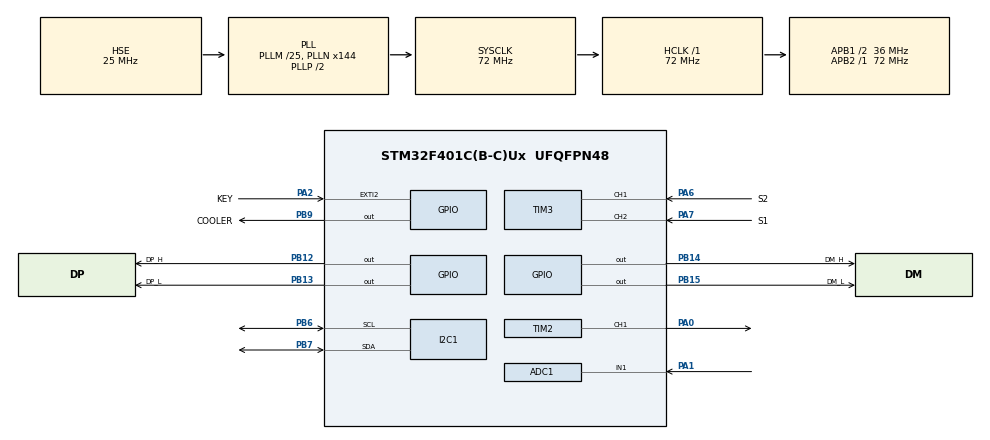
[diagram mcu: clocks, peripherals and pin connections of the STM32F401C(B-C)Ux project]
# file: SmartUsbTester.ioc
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ADC1.Channel-0\#ChannelRegularConversion=ADC_CHANNEL_1
ADC1.ContinuousConvMode=ENABLE
ADC1.NbrOfConversionFlag=1
ADC1.Rank-0\#ChannelRegularConversion=1
ADC1.SamplingTime-0\#ChannelRegularConversion=ADC_SAMPLETIME_480CYCLES
ADC1.master=1
I2C1.I2C_Mode=I2C_Fast
Mcu.Family=STM32F4
Mcu.Name=STM32F401C(B-C)Ux
Mcu.Package=UFQFPN48
NVIC.ADC_IRQn=true\:0\:0\:false\:false\:true\:true\:true\:true
NVIC.EXTI2_IRQn=true\:0\:0\:false\:false\:true\:true\:true\:true
NVIC.PriorityGroup=NVIC_PRIORITYGROUP_4
NVIC.TIM1_UP_TIM10_IRQn=true\:0\:0\:false\:false\:true\:true\:true\:true
PA0-WKUP.Signal=S_TIM2_CH1_ETR
PA1.Signal=ADCx_IN1
PA13.Mode=Serial_Wire
PA13.Signal=SYS_JTMS-SWDIO
PA14.Mode=Serial_Wire
PA14.Signal=SYS_JTCK-SWCLK
PA2.GPIO_Label=KEY
PA2.Signal=GPXTI2
PA6.GPIO_Label=S2
PA6.Signal=S_TIM3_CH1
PA7.GPIO_Label=S1
PA7.Signal=S_TIM3_CH2
PB12.GPIO_Label=DP_H
PB12.Signal=GPIO_Output
PB13.GPIO_Label=DP_L
PB13.Signal=GPIO_Output
PB14.GPIO_Label=DM_H
PB14.Signal=GPIO_Output
PB15.GPIO_Label=DM_L
PB15.Signal=GPIO_Output
PB6.Mode=I2C
PB6.Signal=I2C1_SCL
PB7.Mode=I2C
PB7.Signal=I2C1_SDA
PB9.GPIO_Label=COOLER
PB9.Signal=GPIO_Output
PC14-OSC32_IN.Mode=LSE-External-Oscillator
PC14-OSC32_IN.Signal=RCC_OSC32_IN
PC15-OSC32_OUT.Mode=LSE-External-Oscillator
PC15-OSC32_OUT.Signal=RCC_OSC32_OUT
PH0\ -\ OSC_IN.Mode=HSE-External-Oscillator
PH0\ -\ OSC_IN.Signal=RCC_OSC_IN
PH1\ -\ OSC_OUT.Mode=HSE-External-Oscillator
PH1\ -\ OSC_OUT.Signal=RCC_OSC_OUT
ProjectManager.HeapSize=0x200
ProjectManager.StackSize=0x400
ProjectManager.TargetToolchain=STM32CubeIDE
RCC.48MHZClocksFreq_Value=36000000
RCC.AHBFreq_Value=72000000
RCC.APB1CLKDivider=RCC_HCLK_DIV2
RCC.APB1Freq_Value=36000000
RCC.APB1TimFreq_Value=72000000
RCC.APB2Freq_Value=72000000
RCC.APB2TimFreq_Value=72000000
RCC.CortexFreq_Value=72000000
RCC.HCLKFreq_Value=72000000
RCC.HSE_VALUE=25000000
RCC.HSI_VALUE=16000000
RCC.PLLM=25
RCC.PLLN=144
RCC.PLLSourceVirtual=RCC_PLLSOURCE_HSE
RCC.SYSCLKFreq_VALUE=72000000
RCC.SYSCLKSource=RCC_SYSCLKSOURCE_PLLCLK
RCC.VCOOutputFreq_Value=144000000
SH.ADCx_IN1.0=ADC1_IN1,IN1
SH.S_TIM2_CH1_ETR.0=TIM2_CH1,PWM Generation1 CH1
SH.S_TIM3_CH1.0=TIM3_CH1,Encoder_Interface
SH.S_TIM3_CH2.0=TIM3_CH2,Encoder_Interface
TIM1.Period=200
TIM1.Prescaler=35999
TIM1.RepetitionCounter=0
TIM2.Channel-PWM\ Generation1\ CH1=TIM_CHANNEL_1
TIM2.Period=65535
TIM3.EncoderMode=TIM_ENCODERMODE_TI12
TIM3.IC2Filter=10
VP_TIM1_VS_ClockSourceINT.Mode=Internal
VP_TIM2_VS_ClockSourceINT.Mode=Internal
board=custom

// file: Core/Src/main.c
/* USER CODE BEGIN Header */
/**
  ******************************************************************************
  * @file           : main.c
  * @brief          : Main program body
  ******************************************************************************
  * @attention
  *
  * Copyright (c) 2022 STMicroelectronics.
  * All rights reserved.
  *
  * This software is licensed under terms that can be found in the LICENSE file
  * in the root directory of this software component.
  * If no LICENSE file comes with this software, it is provided AS-IS.
  *
  ******************************************************************************
  */
/* USER CODE END Header */
#include "main.h"

/* USER CODE BEGIN Includes */
#include <limits.h>
#include <stdint.h>
#include <stdlib.h>
#include "ina219.h"
#include "draw.h"
#include "fonts.h"
#include "qc.h"
#include "math.h"
/* USER CODE END Includes */

ADC_HandleTypeDef hadc1;

I2C_HandleTypeDef hi2c1;

TIM_HandleTypeDef htim1;
TIM_HandleTypeDef htim2;
TIM_HandleTypeDef htim3;

/* USER CODE BEGIN PV */
extern int adrs_219;
/* ntc vars */
uint32_t Ntc_Tmp = 0;
uint16_t Ntc_R;
/* R1 resistance */
#define NTC_UP_R 46600.0f
/* constants of Steinhart-Hart equation */
#define A 0.0007537836786f
#define B 0.0002356034273f
#define C 0.00000005496876007f

#define MAX_ALLOWED_TEMPERATURE 60
#define LOW_VOLTAGE 3200

/* USER CODE END PV */

void SystemClock_Config(void);
static void MX_GPIO_Init(void);
static void MX_I2C1_Init(void);
static void MX_TIM3_Init(void);
static void MX_TIM1_Init(void);
static void MX_TIM2_Init(void);
static void MX_ADC1_Init(void);

/* USER CODE BEGIN 0 */
#define MAX_ALLOWED_LOAD 3200
#define GRAPHS_N 4
#define MILLIVOLTAGE_LOWEST_BOUND 2000
#define MILLIVOLTAGE_HIGHEST_BOUND 15000
#define MILLIVOLTAGE_MINIMUM_ALLOWED 3900
#define COOLING_ENABLE_MILLIWATT 10000
#define COOLING_DISABLE_MILLIWATT 5000
#define COOLING_ENABLE_TEMPERATURE 30
#define COOLING_DISABLE_TEMPERATURE 24
#define MAX_UINT32 65532
#define REFERENCE_CABLE_RESISTANCE 228//81

typedef enum state_t {
    MAIN_MENU,
    QC,
    POWER,
    CURRENT_CONTROL,
    GRAPHS,
	TEST_MAX_PARAMS,
	TEST_RESISTANCE,
	TEST_CAPACITY

} state_t;

typedef enum qc_menu_t{
    EXIT_TO_MAIN_MENU_FROM_QC,
    SET_5V,
    SET_9V,
    SET_12V,
    CONTINUOUS_MODE_UP,
    CONTINUOUS_MODE_DOWN
} qc_menu_t;
typedef enum graph_toggle_t{
	EXIT_TO_MAIN_MENU_FROM_GRAPH,
    GRAPH_TOGGLE_UPPER_BOUND,
    GRAPH_TOGGLE_LOWER_BOUND,
    GRAPH_TOGGLE_RESET,
    GRAPH_TOGGLE_DATA
} graph_toggle_t;
typedef enum power_t{
	EXIT_TO_MAIN_MENU_FROM_POWER
} power_t;
typedef enum current_control_t{
	EXIT_TO_MAIN_MENU_FROM_CURRENT_CONTROL
} current_control_t;
typedef enum max_params_t{
	EXIT_TO_MAIN_MENU_FROM_MAX_PARAMS,
    START_MAX_PARAMS_TEST
} max_params_t;
typedef enum resistance_control_t{
	EXIT_TO_MAIN_MENU_FROM_RESISTANCE,
    SAVE_REFERENCE_RESISTANCE,
    GET_CABLE_RESISTANCE
} resistance_control_t;
typedef enum capacity_control_t{
	EXIT_TO_MAIN_MENU_FROM_CAPACITY
} capacity_control_t;

typedef struct OverFlow {
	int overflow_size;
} OverFlow;

volatile int btn_state = 1;
volatile int can_be_pressed = 1;
volatile uint32_t move = 0;
volatile uint32_t move_prev = 0;
volatile state_t state = MAIN_MENU;
volatile graph_toggle_t graph_toggle_state = EXIT_TO_MAIN_MENU_FROM_GRAPH;
volatile int is_drawn = 0;
volatile int device_available = 0;

uint32_t ina_curr = 0;
uint32_t ina_vol = 0;
float ina_vol_float = 0;
uint32_t ina_pwr = 0;
uint8_t ina_cnt = 0;
uint8_t channel = 0;
float mAh = 0;
float mWh = 0;
uint8_t start_measuring_capacity = 0;

uint8_t _cooling = 0;

uint32_t tim3_prev_cnt=0;
int amperage_load=0;
int active_load=0;
int start_load=0;

int graph_upper_bound=3200;
int graph_lower_bound=0;
page_t page = PAGE_1;

uint32_t board_temperature = 0;

qc_support_t has_qc_support = QC_UNKNOWN;
uint8_t qc_execure_check = 0;
int continuous_mode = 0;

int start_max_params_test = 0;

static const graph_t milliVoltage={
        &ina_vol,
        "mV",
        0,
        7500
};
static const graph_t milliAmperage={
        &ina_curr,
        "mA",
        0,
        5000
};
static const graph_t milliWattage= {
        &ina_pwr,
        "mW",
        0,
        36000
};
static const graph_t temperature={
        &board_temperature,
        "TC",
        20,
        75
};

const graph_t graphs[GRAPHS_N] = {milliVoltage, milliAmperage, milliWattage, temperature};

int curr_graph = 0;

void reset_graph_bounds(){
    graph_upper_bound = graphs[curr_graph].upper_bound;
    graph_lower_bound = graphs[curr_graph].lower_bound;
}

int get_encoder_rotation(){
    unsigned int tim3_cnt = (TIM3->CNT)>>2;
    int diff;
    if (tim3_cnt > tim3_prev_cnt)
        diff = 1;
    else if (tim3_cnt == tim3_prev_cnt)
        diff = 0;
    else
        diff = -1;
    tim3_prev_cnt = tim3_cnt;
    return diff;
}
// Overflow methods
//move = (TIM3->CNT>>2)%1;
uint32_t getMove(uint32_t scale) {
	uint32_t count = ((TIM3->CNT));
	uint32_t move;
	if (count == MAX_UINT32) {
		(TIM3->CNT) = scale<<8;
		move = scale-1;
	}
	else {

		move = (count>>2)%scale;
	}
	return move;

}
// PID controller parameters
double kp = 0.05; // 0.05
double ki = 0.5; // 0.5
double kd = 0.1; // 0.1

// PID controller state
double integral = 0;
double previous_error = 0;

int pid_controller(uint32_t actual_voltage, uint32_t desired_voltage) {
    // Calculate error
    double error = desired_voltage + 0.0 - actual_voltage;
    // Update integral
    integral += error;
    // Calculate derivative
    double derivative = error - previous_error;
    // Save error for next iteration
    previous_error = error;
    // Calculate output
    double output = kp*error + ki*integral + kd*derivative;
    // Saturate output
    if (output < 0) {
        output = 0;
    } else if (output >= MAX_ALLOWED_LOAD) {
        output = MAX_ALLOWED_LOAD - 1;
    }
    // Convert output to uint32_t and return
    return output;
}

void measure_capacity(){
    mAh += ina_curr/3600.0;
	mWh += ina_vol*ina_curr/3600000.0;
}

void electrical_load(int diff){

    if (!active_load){
        amperage_load = 0;
        active_load = 1;
    }

    if(amperage_load + diff < 0){
        amperage_load = 0;
        diff = 0;
    }

    if(amperage_load + diff >= MAX_ALLOWED_LOAD){
        amperage_load = MAX_ALLOWED_LOAD;
        diff = 0;
    }

    amperage_load += diff;

    // 5v
    // 500 - 113 mA
    // 1000 - 220 mA
    // 2000 - 440 mA
    // 5000 - 1030 mA
    // 6000 - 1170 mA
    // 10000 - 1470 mA

    // !!!!!!! ATTENTION !!!!!!!!
    // find values for QC, using these values will cause damage to the device
    // !!!!!!! ATTENTION !!!!!!!!
    int adjustment = pid_controller(ina_curr, amperage_load);
    TIM2->CCR1 = adjustment;
    HAL_Delay(3);
}

void read_circut_parameters(){
    adrs_219 = 0x40;
    ina_curr = getCurrent_mA();
    ina_vol = getBusVoltage_V() * 1000;
    ina_vol_float = getBusVoltage_V();
    ina_pwr = getPower_mW();
}

void emergency_shutdown(){
    TIM2->CCR1 = 0;
    amperage_load = 0;
    active_load = 0;
    HAL_GPIO_WritePin(GPIOB, COOLER_Pin, GPIO_PIN_SET);
    Set_5V();
}

void start_cooling(){
    if (!_cooling){
        HAL_GPIO_WritePin(GPIOB, COOLER_Pin, GPIO_PIN_SET);
        _cooling = 1;
    }
}

void stop_cooling(){
    if(_cooling){
        HAL_GPIO_WritePin(GPIOB, COOLER_Pin, GPIO_PIN_RESET);
        _cooling = 0;
    }
}

volatile int last = -150;
void check_temperature(){
	const int curr = HAL_GetTick();
	if (curr-last<300){return;}
	last = curr;

	/* get adc value */
	HAL_ADC_Start(&hadc1);
	HAL_ADC_PollForConversion(&hadc1, 100);
	uint16_t Ntc_Temp_ADC = 4095.0-HAL_ADC_GetValue(&hadc1);
	HAL_ADC_Stop(&hadc1);

	/* calculate ntc resistance */
	Ntc_R = ((NTC_UP_R)/((4095.0/Ntc_Temp_ADC) - 1));
	/* calculate temperature */
	float Ntc_Ln = log(Ntc_R);
	Ntc_Tmp = (1.0/(A + B*Ntc_Ln + C*Ntc_Ln*Ntc_Ln*Ntc_Ln)) - 273.15;

    // draw_temperature(Ntc_Tmp);
    board_temperature = Ntc_Tmp;
}

int board_protection(){
    read_circut_parameters();
    check_temperature();
    int protection = 0;
    if(ina_vol < MILLIVOLTAGE_LOWEST_BOUND){
        device_available = 0;
        qc_execure_check = 0;
        has_qc_support = QC_UNKNOWN;
    }
    else if(!device_available){
        device_available = 1;
        qc_execure_check = 1;
        amperage_load = 0;
	}

    if (board_temperature >= MAX_ALLOWED_TEMPERATURE
            || ina_vol > MILLIVOLTAGE_HIGHEST_BOUND) {
        emergency_shutdown();
        protection=1;
    }
    else if (board_temperature >= COOLING_ENABLE_TEMPERATURE
            || ina_pwr >= COOLING_ENABLE_MILLIWATT) {
        start_cooling();
	}
    else if (board_temperature < COOLING_DISABLE_TEMPERATURE
            && board_temperature < COOLING_DISABLE_MILLIWATT){
        stop_cooling();
    }
    return protection;
}

void HAL_TIM_PeriodElapsedCallback(TIM_HandleTypeDef *htim)
{
    /* Prevent unused argument(s) compilation warning */

    if(htim == &htim1){
        //HAL_GPIO_TogglePin(LD4_GPIO_Port, LD4_Pin);
        can_be_pressed = 1;
        HAL_TIM_Base_Stop_IT(&htim1);
    }
}

int resistance_reference = 9999;
int resistance_cable = 9999;

int get_resistance(){
    // set voltage to 5 volts
    Set_5V();

    // set current to about 1000 mA
    TIM2->CCR1 = 500;
    HAL_Delay(1000);

    // read current
    board_protection();

    int resistance = (ina_curr/ina_vol_float)*10; //(ina_vol_float / (ina_curr / 1000.0))*1000;

    amperage_load = 0;
    TIM2->CCR1 = 0;

    return resistance;
}

int click = 0;
void on_button_clicked(){
    switch (state){
        case MAIN_MENU:
            state=move+1;
            draw_fill(0);
            switch(move+1)
            {
                case QC:
                    TIM2->CCR1 = 0;
                    amperage_load = 0;
                    break;
                case GRAPHS:
                    reset_graph_bounds();
                    break;
                case CURRENT_CONTROL:
                    reset_graph_bounds();
                    start_load = 1;
                    break;
                case TEST_CAPACITY:
                    start_measuring_capacity = 1;
                    break;
            }
            move=0;
            break;

        case QC:

            switch (move){
                case EXIT_TO_MAIN_MENU_FROM_QC:
                    state=MAIN_MENU;
                    draw_clear();
                    move=QC-1;
                    break;

                case SET_5V:
                    Set_5V();
                    break;

                case SET_9V:
                    Set_9V();
                    break;

                case SET_12V:
                    Set_12V();
                    break;

                case CONTINUOUS_MODE_UP:
                    continuous_mode = 1;
                    break;

                case CONTINUOUS_MODE_DOWN:
                    continuous_mode = -1;
                    break;
            }
            break;

        case POWER:
            switch (move){
                case EXIT_TO_MAIN_MENU_FROM_POWER:
                    state=MAIN_MENU;
                    draw_fill (0);
                    move=0;
                    break;
            }
            break;

        case CURRENT_CONTROL:
            switch (move){
                case EXIT_TO_MAIN_MENU_FROM_CURRENT_CONTROL:
                    state=MAIN_MENU;
                    draw_fill (0);
                    move=0;
                    active_load=0;
                    break;
            }
            break;

        case GRAPHS:
            if(graph_toggle_state == EXIT_TO_MAIN_MENU_FROM_GRAPH){
                if (move == EXIT_TO_MAIN_MENU_FROM_GRAPH){
                    state=move;
                    draw_fill (0);
                    move=0;
                    break;
                }

                draw_graph_menu_clear_selection();

                switch(move){
                    case GRAPH_TOGGLE_UPPER_BOUND:
                        draw_graph_menu_upper_bound_selected();
                        break;
                    case GRAPH_TOGGLE_LOWER_BOUND:
                        draw_graph_menu_lower_bound_selected();
                        break;
                    case GRAPH_TOGGLE_RESET:
                        reset_graph_bounds();
                        move=0;
                        break;
                    case GRAPH_TOGGLE_DATA:
                        reset_graph_bounds();
                        break;
                }

                graph_toggle_state = move;
            }
            else{
                graph_toggle_state = EXIT_TO_MAIN_MENU_FROM_GRAPH;
                draw_graph_menu_upper_bound_deselect();
                draw_graph_menu_lower_bound_deselect();
                draw_graph_menu_upper_bound_button();
                draw_graph_menu_lower_bound_button();
            }
            break;
        	case TEST_MAX_PARAMS:
        		switch (move){
					case EXIT_TO_MAIN_MENU_FROM_MAX_PARAMS:
						state=MAIN_MENU;
						draw_fill (0);
						move=4;
						break;
                    case START_MAX_PARAMS_TEST:
                        start_max_params_test = 1;
                        break;
					default:
						break;
				}
        		break;
			case TEST_RESISTANCE:
				switch (move){
					case EXIT_TO_MAIN_MENU_FROM_RESISTANCE:
						state=MAIN_MENU;
						draw_fill (0);
						move=4;
						break;
                    case SAVE_REFERENCE_RESISTANCE:
                    click = 1;
                        break;
                    case GET_CABLE_RESISTANCE:
                        // resistance_cable = get_resistance() - resistance_reference;
                        click = 2;
                        break;
				}
				break;
			case TEST_CAPACITY:
				switch (move){
						case EXIT_TO_MAIN_MENU_FROM_CAPACITY:
							state=MAIN_MENU;
							draw_fill (0);
							move=4;
							break;
					}
				break;
		default:
			break;
    }
}

void HAL_GPIO_EXTI_Callback(uint16_t GPIO_Pin) {
    if (GPIO_Pin==KEY_Pin) {
        if (can_be_pressed) {
            can_be_pressed = 0;
            btn_state = !btn_state;
            is_drawn = 0;

            on_button_clicked();

            HAL_TIM_Base_Start_IT(&htim1);
        }
    }
}

void setup(){
    HAL_TIM_Encoder_Start(&htim3, TIM_CHANNEL_ALL);
    draw_init();
    draw_clear();
    adrs_219 = 0x40;
    setCalibration_32V_custom();
    HAL_TIM_PWM_Start(&htim2, TIM_CHANNEL_1);
	TIM2->CCR1 = 0;
}

void loop(){
    move_prev = move;
    board_protection();

    switch(state){

        case MAIN_MENU:
            move = getMove(7);
            if (4<=move&&move<7) {
				// draw page 2
            	if (move_prev < 4) {
                	page = PAGE_2;
                	is_drawn = 0;
            	}

			}
            else {
            	// draw page 1
            	if (4<=move_prev&&move_prev<7) {
                	page = PAGE_1;
                	is_drawn = 0;
            	}
            }
            if (!is_drawn) {
            	draw_main_menu(page);
            }
            draw_main_menu_selection(move, move_prev, page);
            break;

        case QC:
            move = getMove(6);
            if (continuous_mode != 0){
                ContinuousMode();

                for(int i = 0; i < 5; ++i){
                    if (continuous_mode == 1) IncVoltage();
                    else if (continuous_mode == -1) DecVoltage();
                    HAL_Delay(50);
                }
                continuous_mode = 0;
            }

            if (!is_drawn) {
                draw_qc_menu();
                is_drawn=1;
            }

		  	if(move_prev != EXIT_TO_MAIN_MENU_FROM_QC){
				draw_qc_menu_deselect(move_prev);
			}
			if (move == EXIT_TO_MAIN_MENU_FROM_QC){
				draw_exit_focus();
			}
            else{
				draw_qc_menu_focus(move);
				draw_exit_button();
			}

            draw_qc_voltage(ina_vol);
            draw_qc_support(has_qc_support);

            if (qc_execure_check){
                draw_show_check_qc();
                draw_update_screen();
                HAL_Delay(4000);
                has_qc_support = HasQCSupport();
                draw_hide_check_qc();
                qc_execure_check = 0;
            }

            break;

        case POWER:
            move = getMove(1);
            if (!is_drawn) {
                is_drawn=1;
            }else{
                HAL_Delay(500);
            }
            //read_circut_parameters();
            draw_power_menu(ina_vol, ina_curr, ina_pwr);
			if(move == EXIT_TO_MAIN_MENU_FROM_POWER){
				draw_exit_focus();
			}
            else{
				draw_exit_button();
			}
            break;

        case CURRENT_CONTROL:{
            int diff = 50 * get_encoder_rotation();
            if(!start_load){
                diff = 0;
                start_load = 1;
            }
            electrical_load(diff);
            curr_graph = 1;
            draw_current_control_menu(amperage_load, ina_curr);
            draw_graph_builder_menu(graph_lower_bound, graph_upper_bound, graphs, curr_graph);
            break;
        }
        case GRAPHS:
        	move = getMove(5);
            draw_graph_builder_menu(graph_lower_bound, graph_upper_bound, graphs, curr_graph);
            HAL_Delay(50);
            if(move_prev == GRAPH_TOGGLE_DATA && move != GRAPH_TOGGLE_DATA){
                draw_clear_actual_value();
            }
            int delta = 0;
            int multiplier = (graphs[curr_graph].upper_bound - graphs[curr_graph].lower_bound) / 50;
            switch (graph_toggle_state){
                case EXIT_TO_MAIN_MENU_FROM_GRAPH:

                    draw_graph_menu_clear_selection();

                    draw_graph_menu_exit_button();

                    switch(move){
                        case EXIT_TO_MAIN_MENU_FROM_GRAPH:
                            draw_graph_menu_exit_focus();
                            break;
                        case GRAPH_TOGGLE_UPPER_BOUND:
                            draw_graph_menu_upper_bound_focus();
                            break;
                        case GRAPH_TOGGLE_LOWER_BOUND:
                            draw_graph_menu_lower_bound_focus();
                            break;
                        case GRAPH_TOGGLE_RESET:
                            draw_graph_menu_reset_focus();
                            break;
                        case GRAPH_TOGGLE_DATA:
                            draw_actual_value(*graphs[curr_graph].value);
                            draw_graph_menu_data_focus();
                            break;
                    }
                    break;
                case GRAPH_TOGGLE_UPPER_BOUND:
                    delta = get_encoder_rotation() * multiplier;
                    graph_upper_bound += delta;
                    if (graph_upper_bound <= graph_lower_bound){
                        graph_upper_bound = graph_lower_bound + 1;
                    }
                    break;
                case GRAPH_TOGGLE_LOWER_BOUND:
                    delta = get_encoder_rotation() * multiplier;
                    graph_lower_bound += delta;
                    if (graph_upper_bound <= graph_lower_bound){
                        graph_lower_bound = graph_upper_bound - 1;
                    }
                    break;
                case GRAPH_TOGGLE_DATA:
                    delta = get_encoder_rotation();
                    int g = curr_graph + delta;
                    if (g < 0)
                        g = 0;
                    else if (g >= GRAPHS_N)
                        g = GRAPHS_N - 1;
                    curr_graph = g;
                    reset_graph_bounds();
                    break;
				case GRAPH_TOGGLE_RESET:
					break;
            }
            break;

        case TEST_MAX_PARAMS:
            move = getMove(2);
            if(!is_drawn){
                draw_max_params_menu();
                is_drawn=1;
            }
            draw_exit_button();
            draw_max_params_button();

            switch(move){
                case EXIT_TO_MAIN_MENU_FROM_MAX_PARAMS:
                    draw_exit_focus();
                    break;
                case START_MAX_PARAMS_TEST:{
                    draw_max_params_focus();
                    if(!start_max_params_test) break;

                    draw_max_params_protection_hide();
                    start_max_params_test = 0;
                    uint32_t max_params_voltage = 0;
                    uint32_t max_params_amperage = 0;
                    int protection = 0;
                    for(int i = 0; i < MAX_ALLOWED_LOAD/100+1; ++i){
                        // Increment load with 100 mA
                        electrical_load(100);
                        protection = board_protection();
                        if (protection){
                            break;
                        }
                        max_params_voltage = ina_vol;
                        max_params_amperage = ina_curr;
                        // Bound the decresing voltage
                        if(ina_vol < MILLIVOLTAGE_MINIMUM_ALLOWED){
                            break;
                        }

                        HAL_Delay(100);
                    }
                    if(protection) draw_max_params_protection();
                    draw_max_params_results(max_params_voltage, max_params_amperage, MAX_ALLOWED_LOAD);
                    // Return to 0 mA
                    amperage_load = 0;
                    // Repeat to stabilize
                    for(int j = 0; j < 10; ++j){
                        electrical_load(0);
                        HAL_Delay(100);
                    }
                }
                break;
            }
            break;
        case TEST_RESISTANCE:
            move = ((TIM3->CNT)>>2)%3;
            draw_exit_button();
            draw_graph_bounds_deselect();
            draw_graph_menu_upper_bound_button();
            draw_graph_menu_lower_bound_button();

            switch(click){
                case 0:
                    break;
                case 1:
                    resistance_reference = get_resistance() - REFERENCE_CABLE_RESISTANCE;
                    click = 0;
                    break;
                case 2:
                    resistance_cable = get_resistance() - resistance_reference;
                    click = 0;
                    break;
            }

            switch(move){
                case EXIT_TO_MAIN_MENU_FROM_RESISTANCE:
                    draw_exit_focus();
                    break;
                case SAVE_REFERENCE_RESISTANCE:
                    draw_graph_menu_upper_bound_focus();
                    break;
                case GET_CABLE_RESISTANCE:
                    draw_graph_menu_lower_bound_focus();
                    break;
            }

            draw_resistance_control_menu(resistance_reference, resistance_cable);

            break;
        case TEST_CAPACITY:
            move = getMove(1);
            if(move == EXIT_TO_MAIN_MENU_FROM_CAPACITY){
                draw_exit_focus();
            }
            else{
                draw_exit_button();
            }
            draw_capacity_header();
            if(start_measuring_capacity){
                start_measuring_capacity = 0;
                HAL_Delay(250);
            }
            if (ina_vol > LOW_VOLTAGE){
                measure_capacity();
                draw_capacity_menu(ina_vol, ina_curr, mAh, mWh);
                HAL_Delay(1000);
            }
            else{
                draw_done_capacity_measuring(mAh, mWh);
            }
            break;
        default:
            break;
    }

    draw_update_screen();
}
/* USER CODE END 0 */

int main(void)
{

  /* MCU Configuration--------------------------------------------------------*/

  /* Reset of all peripherals, Initializes the Flash interface and the Systick. */
  HAL_Init();

  /* Configure the system clock */
  SystemClock_Config();

  /* Initialize all configured peripherals */
  MX_GPIO_Init();
  MX_I2C1_Init();
  MX_TIM3_Init();
  MX_TIM1_Init();
  MX_TIM2_Init();
  MX_ADC1_Init();
  /* USER CODE BEGIN 2 */
  setup();
  HAL_GPIO_WritePin(GPIOC, GPIO_PIN_13, GPIO_PIN_SET);
  /* USER CODE END 2 */

  /* Infinite loop */
  /* USER CODE BEGIN WHILE */
  while (1)
  {
    HAL_NVIC_DisableIRQ(EXTI2_IRQn);
    loop();
    HAL_NVIC_EnableIRQ(EXTI2_IRQn);
    /* USER CODE END WHILE */

  }
}

void SystemClock_Config(void)
{
  RCC_OscInitTypeDef RCC_OscInitStruct = {0};
  RCC_ClkInitTypeDef RCC_ClkInitStruct = {0};

  /** Configure the main internal regulator output voltage
  */
  __HAL_RCC_PWR_CLK_ENABLE();
  __HAL_PWR_VOLTAGESCALING_CONFIG(PWR_REGULATOR_VOLTAGE_SCALE2);

  /** Initializes the RCC Oscillators according to the specified parameters
  * in the RCC_OscInitTypeDef structure.
  */
  RCC_OscInitStruct.OscillatorType = RCC_OSCILLATORTYPE_HSE;
  RCC_OscInitStruct.HSEState = RCC_HSE_ON;
  RCC_OscInitStruct.PLL.PLLState = RCC_PLL_ON;
  RCC_OscInitStruct.PLL.PLLSource = RCC_PLLSOURCE_HSE;
  RCC_OscInitStruct.PLL.PLLM = 25;
  RCC_OscInitStruct.PLL.PLLN = 144;
  RCC_OscInitStruct.PLL.PLLP = RCC_PLLP_DIV2;
  RCC_OscInitStruct.PLL.PLLQ = 4;
  if (HAL_RCC_OscConfig(&RCC_OscInitStruct) != HAL_OK)
  {
    Error_Handler();
  }

  /** Initializes the CPU, AHB and APB buses clocks
  */
  RCC_ClkInitStruct.ClockType = RCC_CLOCKTYPE_HCLK|RCC_CLOCKTYPE_SYSCLK
                              |RCC_CLOCKTYPE_PCLK1|RCC_CLOCKTYPE_PCLK2;
  RCC_ClkInitStruct.SYSCLKSource = RCC_SYSCLKSOURCE_PLLCLK;
  RCC_ClkInitStruct.AHBCLKDivider = RCC_SYSCLK_DIV1;
  RCC_ClkInitStruct.APB1CLKDivider = RCC_HCLK_DIV2;
  RCC_ClkInitStruct.APB2CLKDivider = RCC_HCLK_DIV1;

  if (HAL_RCC_ClockConfig(&RCC_ClkInitStruct, FLASH_LATENCY_2) != HAL_OK)
  {
    Error_Handler();
  }
}

static void MX_ADC1_Init(void)
{

  ADC_ChannelConfTypeDef sConfig = {0};

  /** Configure the global features of the ADC (Clock, Resolution, Data Alignment and number of conversion)
  */
  hadc1.Instance = ADC1;
  hadc1.Init.ClockPrescaler = ADC_CLOCK_SYNC_PCLK_DIV2;
  hadc1.Init.Resolution = ADC_RESOLUTION_12B;
  hadc1.Init.ScanConvMode = DISABLE;
  hadc1.Init.ContinuousConvMode = ENABLE;
  hadc1.Init.DiscontinuousConvMode = DISABLE;
  hadc1.Init.ExternalTrigConvEdge = ADC_EXTERNALTRIGCONVEDGE_NONE;
  hadc1.Init.ExternalTrigConv = ADC_SOFTWARE_START;
  hadc1.Init.DataAlign = ADC_DATAALIGN_RIGHT;
  hadc1.Init.NbrOfConversion = 1;
  hadc1.Init.DMAContinuousRequests = DISABLE;
  hadc1.Init.EOCSelection = ADC_EOC_SINGLE_CONV;
  if (HAL_ADC_Init(&hadc1) != HAL_OK)
  {
    Error_Handler();
  }

  /** Configure for the selected ADC regular channel its corresponding rank in the sequencer and its sample time.
  */
  sConfig.Channel = ADC_CHANNEL_1;
  sConfig.Rank = 1;
  sConfig.SamplingTime = ADC_SAMPLETIME_480CYCLES;
  if (HAL_ADC_ConfigChannel(&hadc1, &sConfig) != HAL_OK)
  {
    Error_Handler();
  }

}

static void MX_I2C1_Init(void)
{

  hi2c1.Instance = I2C1;
  hi2c1.Init.ClockSpeed = 400000;
  hi2c1.Init.DutyCycle = I2C_DUTYCYCLE_2;
  hi2c1.Init.OwnAddress1 = 0;
  hi2c1.Init.AddressingMode = I2C_ADDRESSINGMODE_7BIT;
  hi2c1.Init.DualAddressMode = I2C_DUALADDRESS_DISABLE;
  hi2c1.Init.OwnAddress2 = 0;
  hi2c1.Init.GeneralCallMode = I2C_GENERALCALL_DISABLE;
  hi2c1.Init.NoStretchMode = I2C_NOSTRETCH_DISABLE;
  if (HAL_I2C_Init(&hi2c1) != HAL_OK)
  {
    Error_Handler();
  }

}

static void MX_TIM1_Init(void)
{

  TIM_ClockConfigTypeDef sClockSourceConfig = {0};
  TIM_MasterConfigTypeDef sMasterConfig = {0};

  htim1.Instance = TIM1;
  htim1.Init.Prescaler = 35999;
  htim1.Init.CounterMode = TIM_COUNTERMODE_UP;
  htim1.Init.Period = 200;
  htim1.Init.ClockDivision = TIM_CLOCKDIVISION_DIV1;
  htim1.Init.RepetitionCounter = 0;
  htim1.Init.AutoReloadPreload = TIM_AUTORELOAD_PRELOAD_DISABLE;
  if (HAL_TIM_Base_Init(&htim1) != HAL_OK)
  {
    Error_Handler();
  }
  sClockSourceConfig.ClockSource = TIM_CLOCKSOURCE_INTERNAL;
  if (HAL_TIM_ConfigClockSource(&htim1, &sClockSourceConfig) != HAL_OK)
  {
    Error_Handler();
  }
  sMasterConfig.MasterOutputTrigger = TIM_TRGO_RESET;
  sMasterConfig.MasterSlaveMode = TIM_MASTERSLAVEMODE_DISABLE;
  if (HAL_TIMEx_MasterConfigSynchronization(&htim1, &sMasterConfig) != HAL_OK)
  {
    Error_Handler();
  }

}

static void MX_TIM2_Init(void)
{

  TIM_ClockConfigTypeDef sClockSourceConfig = {0};
  TIM_MasterConfigTypeDef sMasterConfig = {0};
  TIM_OC_InitTypeDef sConfigOC = {0};

  htim2.Instance = TIM2;
  htim2.Init.Prescaler = 0;
  htim2.Init.CounterMode = TIM_COUNTERMODE_UP;
  htim2.Init.Period = 65535;
  htim2.Init.ClockDivision = TIM_CLOCKDIVISION_DIV1;
  htim2.Init.AutoReloadPreload = TIM_AUTORELOAD_PRELOAD_DISABLE;
  if (HAL_TIM_Base_Init(&htim2) != HAL_OK)
  {
    Error_Handler();
  }
  sClockSourceConfig.ClockSource = TIM_CLOCKSOURCE_INTERNAL;
  if (HAL_TIM_ConfigClockSource(&htim2, &sClockSourceConfig) != HAL_OK)
  {
    Error_Handler();
  }
  if (HAL_TIM_PWM_Init(&htim2) != HAL_OK)
  {
    Error_Handler();
  }
  sMasterConfig.MasterOutputTrigger = TIM_TRGO_RESET;
  sMasterConfig.MasterSlaveMode = TIM_MASTERSLAVEMODE_DISABLE;
  if (HAL_TIMEx_MasterConfigSynchronization(&htim2, &sMasterConfig) != HAL_OK)
  {
    Error_Handler();
  }
  sConfigOC.OCMode = TIM_OCMODE_PWM1;
  sConfigOC.Pulse = 0;
  sConfigOC.OCPolarity = TIM_OCPOLARITY_HIGH;
  sConfigOC.OCFastMode = TIM_OCFAST_DISABLE;
  if (HAL_TIM_PWM_ConfigChannel(&htim2, &sConfigOC, TIM_CHANNEL_1) != HAL_OK)
  {
    Error_Handler();
  }
  HAL_TIM_MspPostInit(&htim2);

}

static void MX_TIM3_Init(void)
{

  TIM_Encoder_InitTypeDef sConfig = {0};
  TIM_MasterConfigTypeDef sMasterConfig = {0};

  htim3.Instance = TIM3;
  htim3.Init.Prescaler = 0;
  htim3.Init.CounterMode = TIM_COUNTERMODE_UP;
  htim3.Init.Period = 65535;
  htim3.Init.ClockDivision = TIM_CLOCKDIVISION_DIV1;
  htim3.Init.AutoReloadPreload = TIM_AUTORELOAD_PRELOAD_DISABLE;
  sConfig.EncoderMode = TIM_ENCODERMODE_TI12;
  sConfig.IC1Polarity = TIM_ICPOLARITY_RISING;
  sConfig.IC1Selection = TIM_ICSELECTION_DIRECTTI;
  sConfig.IC1Prescaler = TIM_ICPSC_DIV1;
  sConfig.IC1Filter = 0;
  sConfig.IC2Polarity = TIM_ICPOLARITY_RISING;
  sConfig.IC2Selection = TIM_ICSELECTION_DIRECTTI;
  sConfig.IC2Prescaler = TIM_ICPSC_DIV1;
  sConfig.IC2Filter = 10;
  if (HAL_TIM_Encoder_Init(&htim3, &sConfig) != HAL_OK)
  {
    Error_Handler();
  }
  sMasterConfig.MasterOutputTrigger = TIM_TRGO_RESET;
  sMasterConfig.MasterSlaveMode = TIM_MASTERSLAVEMODE_DISABLE;
  if (HAL_TIMEx_MasterConfigSynchronization(&htim3, &sMasterConfig) != HAL_OK)
  {
    Error_Handler();
  }

}

static void MX_GPIO_Init(void)
{
  GPIO_InitTypeDef GPIO_InitStruct = {0};

  /* GPIO Ports Clock Enable */
  __HAL_RCC_GPIOC_CLK_ENABLE();
  __HAL_RCC_GPIOH_CLK_ENABLE();
  __HAL_RCC_GPIOA_CLK_ENABLE();
  __HAL_RCC_GPIOB_CLK_ENABLE();

  /*Configure GPIO pin Output Level */
  HAL_GPIO_WritePin(GPIOB, DP_H_Pin|DP_L_Pin|DM_H_Pin|DM_L_Pin
                          |COOLER_Pin, GPIO_PIN_RESET);

  /*Configure GPIO pin : KEY_Pin */
  GPIO_InitStruct.Pin = KEY_Pin;
  GPIO_InitStruct.Mode = GPIO_MODE_IT_RISING;
  GPIO_InitStruct.Pull = GPIO_NOPULL;
  HAL_GPIO_Init(KEY_GPIO_Port, &GPIO_InitStruct);

  /*Configure GPIO pins : DP_H_Pin DP_L_Pin DM_H_Pin DM_L_Pin
                           COOLER_Pin */
  GPIO_InitStruct.Pin = DP_H_Pin|DP_L_Pin|DM_H_Pin|DM_L_Pin
                          |COOLER_Pin;
  GPIO_InitStruct.Mode = GPIO_MODE_OUTPUT_PP;
  GPIO_InitStruct.Pull = GPIO_NOPULL;
  GPIO_InitStruct.Speed = GPIO_SPEED_FREQ_LOW;
  HAL_GPIO_Init(GPIOB, &GPIO_InitStruct);

  /* EXTI interrupt init*/
  HAL_NVIC_SetPriority(EXTI2_IRQn, 0, 0);
  HAL_NVIC_EnableIRQ(EXTI2_IRQn);

}

void Error_Handler(void)
{
  __disable_irq();
  while (1)
  {
  }
}
